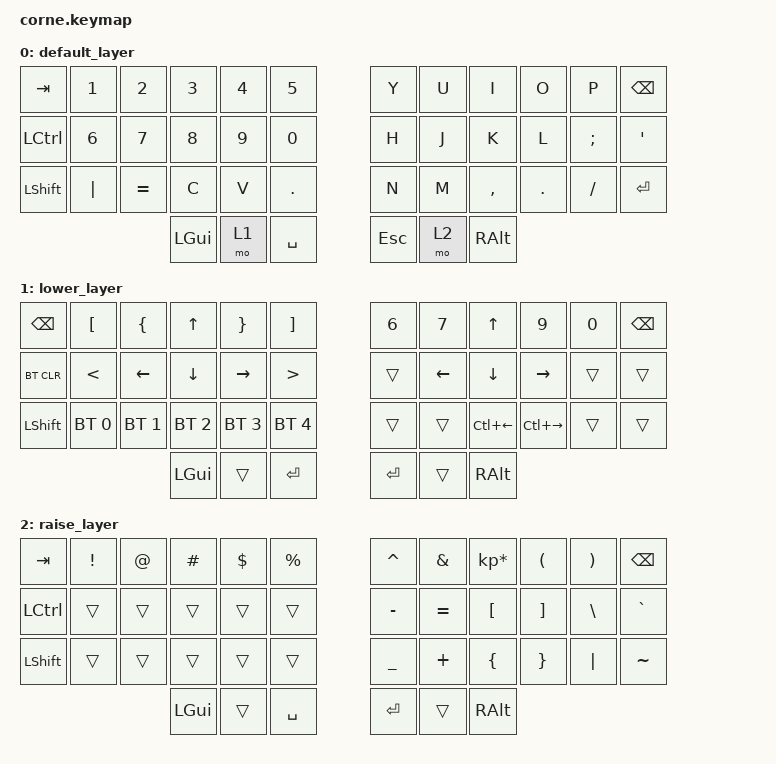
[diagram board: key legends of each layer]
/*
 * Copyright (c) 2020 The ZMK Contributors
 *
 * SPDX-License-Identifier: MIT
 */

#include <behaviors.dtsi>
#include <dt-bindings/zmk/keys.h>
#include <dt-bindings/zmk/bt.h>

/ {
        keymap {
                compatible = "zmk,keymap";

                default_layer {
// -----------------------------------------------------------------------------------------
// |  TAB |  Q  |  W  |  E  |  R  |  T  |   |  Y  |  U   |  I  |  O  |  P  | BKSP |
// | CTRL |  A  |  S  |  D  |  F  |  G  |   |  H  |  J   |  K  |  L  |  ;  |  '   |
// | SHFT |  Z  |  X  |  C  |  V  |  B  |   |  N  |  M   |  ,  |  .  |  /  | ESC  |
//                    | GUI | LWR | SPC |   | ENT | RSE  | ALT |
                        bindings = <
   &kp TAB   &kp N1    &kp N2       &kp N3    &kp N4   &kp N5            &kp Y &kp U  &kp I     &kp O   &kp P    &kp BSPC
   &kp LCTRL &kp N6    &kp N7       &kp N8    &kp N9   &kp N0            &kp H &kp J  &kp K     &kp L   &kp SEMI &kp SQT
   &kp LSHFT &kp PIPE  &kp EQUAL    &kp C     &kp V    &kp PERIOD        &kp N &kp M  &kp COMMA &kp DOT &kp FSLH &kp RET
                              &kp LGUI        &mo 1    &kp SPACE         &kp ESC  &mo 2    &kp RALT
                        >;
                };
                lower_layer {
// -----------------------------------------------------------------------------------------
// |  TAB |  1  |  2  |  3  |  4  |  5  |   |  6  |  7  |  UP |  9  |  0  | BKSP |
// | BTCLR|  6  |  7  |  8  |  9  |  0  |   |     | LFT | DWN | RGT |     |      |
// | SHFT | BT1 | BT2 | BT3 | BT4 | BT5 |   |     |     |     |     |     |      |
//                    | GUI |     | SPC |   | ENT |     | ALT |
                        bindings = <
   &kp BSPC    &kp LBKT       &kp LBRC       &kp UP       &kp RBRC       &kp RBKT         &kp N6   &kp N7   &kp UP       &kp N9          &kp N0 &kp BSPC
   &bt BT_CLR &kp LT      &kp LEFT       &kp DOWN     &kp RIGHT       &kp GT         &trans   &kp LEFT &kp DOWN     &kp RIGHT       &trans &trans
   &kp LSHFT  &bt BT_SEL 0 &bt BT_SEL 1 &bt BT_SEL 2 &bt BT_SEL 3 &bt BT_SEL 4   &trans   &trans   &kp LC(LEFT) &kp LC(RIGHT)   &trans &trans
                                        &kp LGUI     &trans       &kp RET      &kp RET  &trans   &kp RALT
                        >;
                };

                raise_layer {
// -----------------------------------------------------------------------------------------
// |  TAB |  !  |  @  |  #  |  $  |  %  |   |  ^  |  &  |  *  |  (  |  )  | BKSP |
// | CTRL |     |     |     |     |     |   |  -  |  =  |  [  |  ]  |  \  |  `   |
// | SHFT |     |     |     |     |     |   |  _  |  +  |  {  |  }  | "|" |  ~   |
//                    | GUI |     | SPC |   | ENT |     | ALT |
                        bindings = <
   &kp  TAB  &kp EXCL &kp AT &kp HASH &kp DLLR &kp PRCNT   &kp CARET &kp AMPS  &kp KP_MULTIPLY &kp LPAR &kp RPAR &kp BSPC
   &kp LCTRL &trans   &trans &trans   &trans   &trans      &kp MINUS &kp EQUAL &kp LBKT        &kp RBKT &kp BSLH &kp GRAVE
   &kp LSHFT &trans   &trans &trans   &trans   &trans      &kp UNDER &kp PLUS  &kp LBRC        &kp RBRC &kp PIPE &kp TILDE
                             &kp LGUI &trans   &kp SPACE   &kp RET   &trans    &kp RALT
                        >;
                };
        };
};
